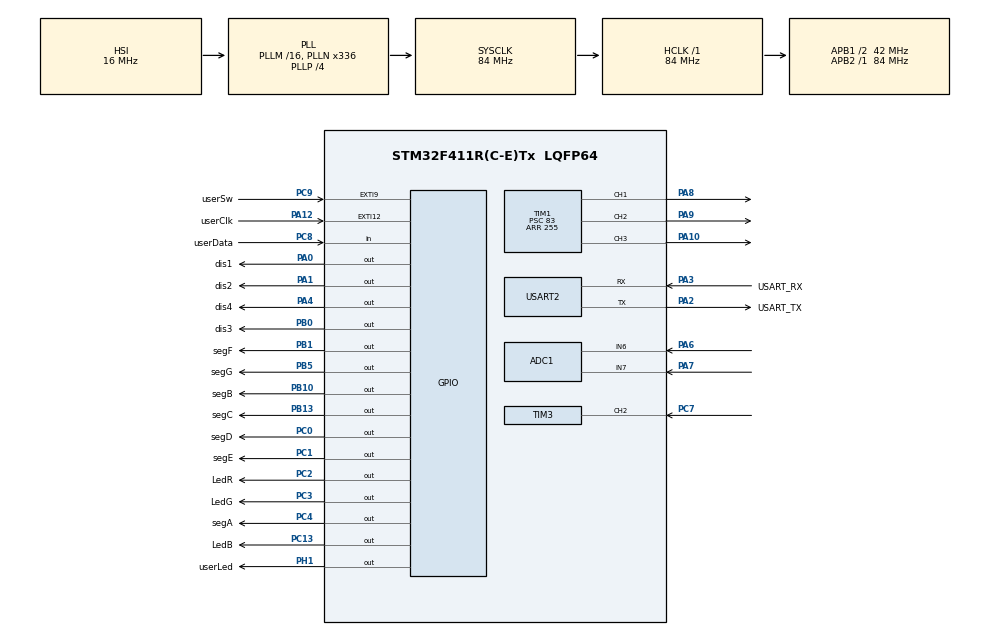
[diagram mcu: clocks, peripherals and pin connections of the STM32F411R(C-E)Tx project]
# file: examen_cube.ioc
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ADC1.Channel-0\#ChannelRegularConversion=ADC_CHANNEL_6
ADC1.Channel-1\#ChannelRegularConversion=ADC_CHANNEL_6
ADC1.ContinuousConvMode=DISABLE
ADC1.DMAContinuousRequests=ENABLE
ADC1.ExternalTrigConv=ADC_EXTERNALTRIGCONV_T3_TRGO
ADC1.NbrOfConversion=2
ADC1.NbrOfConversionFlag=1
ADC1.Rank-1\#ChannelRegularConversion=2
ADC1.SamplingTime-1\#ChannelRegularConversion=ADC_SAMPLETIME_3CYCLES
ADC1.ScanConvMode=ENABLE
ADC1.master=1
Dma.ADC1.0.Direction=DMA_PERIPH_TO_MEMORY
Dma.ADC1.0.FIFOMode=DMA_FIFOMODE_DISABLE
Dma.ADC1.0.Instance=DMA2_Stream0
Dma.ADC1.0.MemDataAlignment=DMA_MDATAALIGN_HALFWORD
Dma.ADC1.0.MemInc=DMA_MINC_ENABLE
Dma.ADC1.0.Mode=DMA_CIRCULAR
Dma.ADC1.0.PeriphDataAlignment=DMA_PDATAALIGN_HALFWORD
Dma.ADC1.0.PeriphInc=DMA_PINC_DISABLE
Dma.ADC1.0.Priority=DMA_PRIORITY_LOW
Dma.Request0=ADC1
Dma.Request1=TIM3_CH2
Dma.TIM3_CH2.1.Direction=DMA_PERIPH_TO_MEMORY
Dma.TIM3_CH2.1.FIFOMode=DMA_FIFOMODE_DISABLE
Dma.TIM3_CH2.1.Instance=DMA1_Stream5
Dma.TIM3_CH2.1.MemDataAlignment=DMA_MDATAALIGN_HALFWORD
Dma.TIM3_CH2.1.MemInc=DMA_MINC_ENABLE
Dma.TIM3_CH2.1.Mode=DMA_CIRCULAR
Dma.TIM3_CH2.1.PeriphDataAlignment=DMA_PDATAALIGN_HALFWORD
Dma.TIM3_CH2.1.PeriphInc=DMA_PINC_DISABLE
Dma.TIM3_CH2.1.Priority=DMA_PRIORITY_LOW
Mcu.Family=STM32F4
Mcu.Name=STM32F411R(C-E)Tx
Mcu.Package=LQFP64
NVIC.ADC_IRQn=true\:0\:0\:false\:false\:true\:true\:true\:true
NVIC.DMA1_Stream5_IRQn=true\:0\:0\:false\:false\:true\:false\:true\:true
NVIC.DMA2_Stream0_IRQn=true\:0\:0\:false\:false\:true\:false\:true\:true
NVIC.EXTI15_10_IRQn=true\:0\:0\:false\:false\:true\:true\:true\:true
NVIC.EXTI9_5_IRQn=true\:0\:0\:false\:false\:true\:true\:true\:true
NVIC.PriorityGroup=NVIC_PRIORITYGROUP_0
NVIC.TIM2_IRQn=true\:0\:0\:false\:false\:true\:true\:true\:true
NVIC.TIM3_IRQn=true\:0\:0\:false\:false\:true\:true\:true\:true
NVIC.TIM4_IRQn=true\:0\:0\:false\:false\:true\:true\:true\:true
NVIC.USART2_IRQn=true\:0\:0\:false\:false\:true\:true\:true\:true
PA0-WKUP.GPIO_Label=dis1
PA0-WKUP.Signal=GPIO_Output
PA1.GPIO_Label=dis2
PA1.Signal=GPIO_Output
PA10.Signal=S_TIM1_CH3
PA12.GPIO_Label=userClk
PA12.Signal=GPXTI12
PA13.GPIO_Label=TMS
PA13.Mode=Serial_Wire
PA13.Signal=SYS_JTMS-SWDIO
PA14.GPIO_Label=TCK
PA14.Mode=Serial_Wire
PA14.Signal=SYS_JTCK-SWCLK
PA2.GPIO_Label=USART_TX
PA2.Mode=Asynchronous
PA2.Signal=USART2_TX
PA3.GPIO_Label=USART_RX
PA3.Mode=Asynchronous
PA3.Signal=USART2_RX
PA4.GPIO_Label=dis4
PA4.Signal=GPIO_Output
PA6.Signal=ADCx_IN6
PA7.Signal=ADCx_IN7
PA8.Signal=S_TIM1_CH1
PA9.Signal=S_TIM1_CH2
PB0.GPIO_Label=dis3
PB0.Signal=GPIO_Output
PB1.GPIO_Label=segF
PB1.Signal=GPIO_Output
PB10.GPIO_Label=segB
PB10.Signal=GPIO_Output
PB13.GPIO_Label=segC
PB13.Signal=GPIO_Output
PB3.GPIO_Label=SWO
PB3.Signal=SYS_JTDO-SWO
PB5.GPIO_Label=segG
PB5.Signal=GPIO_Output
PC0.GPIO_Label=segD
PC0.Signal=GPIO_Output
PC1.GPIO_Label=segE
PC1.Signal=GPIO_Output
PC13-ANTI_TAMP.GPIO_Label=LedB
PC13-ANTI_TAMP.Signal=GPIO_Output
PC2.GPIO_Label=LedR
PC2.Signal=GPIO_Output
PC3.GPIO_Label=LedG
PC3.Signal=GPIO_Output
PC4.GPIO_Label=segA
PC4.Signal=GPIO_Output
PC7.Signal=S_TIM3_CH2
PC8.GPIO_Label=userData
PC8.Signal=GPIO_Input
PC9.GPIO_Label=userSw
PC9.Signal=GPXTI9
PH1\ -\ OSC_OUT.GPIO_Label=userLed
PH1\ -\ OSC_OUT.PinState=GPIO_PIN_SET
PH1\ -\ OSC_OUT.Signal=GPIO_Output
ProjectManager.HeapSize=0x200
ProjectManager.StackSize=0x400
ProjectManager.TargetToolchain=STM32CubeIDE
RCC.48MHZClocksFreq_Value=84000000
RCC.AHBFreq_Value=84000000
RCC.APB1CLKDivider=RCC_HCLK_DIV2
RCC.APB1Freq_Value=42000000
RCC.APB1TimFreq_Value=84000000
RCC.APB2Freq_Value=84000000
RCC.APB2TimFreq_Value=84000000
RCC.CortexFreq_Value=84000000
RCC.FLatency-AdvancedSettings=FLASH_LATENCY_2
RCC.HCLKFreq_Value=84000000
RCC.HSE_VALUE=8000000
RCC.HSI_VALUE=16000000
RCC.LSE_VALUE=32768
RCC.PLLN=336
RCC.PLLP=RCC_PLLP_DIV4
RCC.SYSCLKFreq_VALUE=84000000
RCC.SYSCLKSource=RCC_SYSCLKSOURCE_PLLCLK
RCC.VCOOutputFreq_Value=336000000
SH.ADCx_IN6.0=ADC1_IN6,IN6
SH.ADCx_IN7.0=ADC1_IN7,IN7
SH.S_TIM1_CH1.0=TIM1_CH1,PWM Generation1 CH1
SH.S_TIM1_CH2.0=TIM1_CH2,PWM Generation2 CH2
SH.S_TIM1_CH3.0=TIM1_CH3,PWM Generation3 CH3
SH.S_TIM3_CH2.0=TIM3_CH2,Input_Capture2_from_TI2
TIM1.Channel-PWM\ Generation1\ CH1=TIM_CHANNEL_1
TIM1.Channel-PWM\ Generation2\ CH2=TIM_CHANNEL_2
TIM1.Channel-PWM\ Generation3\ CH3=TIM_CHANNEL_3
TIM1.Period=255
TIM1.Prescaler=83
TIM2.AutoReloadPreload=TIM_AUTORELOAD_PRELOAD_ENABLE
TIM2.Period=500
TIM2.Prescaler=42000-1
TIM3.Channel-Input_Capture2_from_TI2=TIM_CHANNEL_2
TIM3.ICFilter_CH2=8
TIM3.TIM_MasterOutputTrigger=TIM_TRGO_UPDATE
TIM4.Period=200-1
TIM4.Prescaler=840-1
TIM4.TIM_MasterOutputTrigger=TIM_TRGO_UPDATE
USART2.VirtualMode=VM_ASYNC
VP_TIM2_VS_ClockSourceINT.Mode=Internal
VP_TIM3_VS_ClockSourceINT.Mode=Internal
VP_TIM4_VS_ClockSourceINT.Mode=Internal
board=NUCLEO-F411RE

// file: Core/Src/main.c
/* USER CODE BEGIN Header */
/**
  ******************************************************************************
  * @file           : main.c
  * @brief          : Main program body
  * Luis Santiago Duque F
  ******************************************************************************
  * @attention
  *
  * Copyright (c) 2025 STMicroelectronics.
  * All rights reserved.
  *
  * This software is licensed under terms that can be found in the LICENSE file
  * in the root directory of this software component.
  * If no LICENSE file comes with this software, it is provided AS-IS.
  *
  ******************************************************************************
  */
/* USER CODE END Header */
#include "main.h"

/* USER CODE BEGIN Includes */
#include "fsm.h"
#include "stdint.h"
#include "stdio.h"
#include "string.h"
#include <stdlib.h>
/* USER CODE END Includes */

ADC_HandleTypeDef hadc1;
DMA_HandleTypeDef hdma_adc1;

TIM_HandleTypeDef htim1;
TIM_HandleTypeDef htim2;
TIM_HandleTypeDef htim3;
TIM_HandleTypeDef htim4;
DMA_HandleTypeDef hdma_tim3_ch2;

UART_HandleTypeDef huart2;

/* USER CODE BEGIN PV */
const uint32_t timer_clk = 84000000UL;
static uint16_t fft_size = 1024;
static uint16_t display_value   =  0;
static uint8_t nextDigit_FSM    =  1;
static uint8_t tx_buffer[256]   = {0};
#define FREQ_BUFFER_SIZE 16
float freq_buffer[FREQ_BUFFER_SIZE] = {0};
#define NUM_MUESTRAS 1024
uint16_t adc_buffer[2 * NUM_MUESTRAS];
uint16_t vrx_buffer[NUM_MUESTRAS];
uint16_t vry_buffer[NUM_MUESTRAS];

char rx_buffer[128] = {0};
uint8_t rx_char = 0;
uint8_t rx_index=0;
volatile e_PosiblesEvents pending_event = IDLE;
volatile uint8_t data_snapshot = 0;

/* USER CODE END PV */

void SystemClock_Config(void);
static void MX_GPIO_Init(void);
static void MX_DMA_Init(void);
static void MX_USART2_UART_Init(void);
static void MX_TIM2_Init(void);
static void MX_TIM4_Init(void);
static void MX_ADC1_Init(void);
static void MX_TIM3_Init(void);
static void MX_TIM1_Init(void);
/* USER CODE BEGIN PFP */
void displayNumber(uint8_t digitValue);
void HandleLEDDelayCmd(const char *arg);
void HandleSampleFreqCmd(const char *arg);
void HandleRGBCmd(const char *arg);
void HandlePWMFreqCmd(const char *arg);
void HandleUnknownCmd(void);
void HandleStatusCmd(void);
void HandlePrintADC(void);
void HandleClearCmd(void) ;
/* USER CODE END PFP */

/* USER CODE BEGIN 0 */

e_PosiblesStates state_machine_action(e_PosiblesEvents event) {
    switch (event) {
    	case IDLE:
    		break;
        case EVENT_ENCODER:
            if (data_snapshot)  // DATA snapshot
                display_value = (display_value == 0) ? 4095 : display_value - 1;
            else
                display_value = (display_value == 4095) ? 0 : display_value + 1;
            break;

        case EVENT_SW:
            display_value = 0;
            nextDigit_FSM = 1;
            break;

        case EVENT_TIMER_TICK:{
        	uint8_t x_val = (vrx_buffer[0] * 99) / 4095;
        	uint8_t y_val = (vry_buffer[0] * 99) / 4095;
        	display_value = (y_val * 100) + x_val;
            // Apagar todos los dígitos
            HAL_GPIO_WritePin(GPIOA, GPIO_PIN_0, GPIO_PIN_RESET);  // userDis1
            HAL_GPIO_WritePin(GPIOA, GPIO_PIN_1, GPIO_PIN_RESET);  // userDis2
            HAL_GPIO_WritePin(GPIOB, GPIO_PIN_0, GPIO_PIN_RESET);  // userDis3
            HAL_GPIO_WritePin(GPIOA, GPIO_PIN_4, GPIO_PIN_RESET);  // userDis4

            switch (nextDigit_FSM) {
                case 1:
                    HAL_GPIO_WritePin(GPIOA, GPIO_PIN_0, GPIO_PIN_SET);
                    displayNumber(display_value % 10);
                    break;
                case 2:
                    HAL_GPIO_WritePin(GPIOA, GPIO_PIN_1, GPIO_PIN_SET);
                    displayNumber((display_value / 10) % 10);
                    break;
                case 3:
                    HAL_GPIO_WritePin(GPIOB, GPIO_PIN_0, GPIO_PIN_SET);
                    displayNumber((display_value / 100) % 10);
                    break;
                case 4:
                    HAL_GPIO_WritePin(GPIOA, GPIO_PIN_4, GPIO_PIN_SET);
                    displayNumber((display_value / 1000) % 10);
                    break;
            }
            nextDigit_FSM = (nextDigit_FSM < 4) ? nextDigit_FSM + 1 : 1;
            break;}
        case EVENT_USART: {
            // eco
            int len = snprintf((char*)tx_buffer, sizeof(tx_buffer),
                               "Comando recibido: %s\r\n", rx_buffer);
            HAL_UART_Transmit(&huart2, tx_buffer, len, 1000);

            // dispatch
            if      (strncmp((char*)rx_buffer,"led=",4)==0)     HandleLEDDelayCmd(rx_buffer+4);
            else if (strncmp((char*)rx_buffer,"fmuestreo=",10)==0)    HandleSampleFreqCmd(rx_buffer+10);
            else if (strncmp((char*)rx_buffer,"rgb=",4)==0)     HandleRGBCmd(rx_buffer+4);
            else if (strncmp((char*)rx_buffer,"status",6)==0) HandleStatusCmd();
            else if (strncmp((char*)rx_buffer,"help",4)==0) HandleHelpCmd();
            else if (strncmp((char*)rx_buffer, "clear", 5) == 0) HandleClearCmd();
            else                                                ;

            memset(rx_buffer,0,sizeof(rx_buffer));
            break;
        }return event;
    }
}

void displayNumber(uint8_t digitValue) {
    uint32_t start = DWT->CYCCNT;
    static uint8_t contador_muestras = 0;
    // Apagar todos los segmentos
    HAL_GPIO_WritePin(GPIOC, GPIO_PIN_4, GPIO_PIN_RESET);  // A
    HAL_GPIO_WritePin(GPIOB, GPIO_PIN_10, GPIO_PIN_RESET);  // B
    HAL_GPIO_WritePin(GPIOB, GPIO_PIN_13, GPIO_PIN_RESET);  // C
    HAL_GPIO_WritePin(GPIOC, GPIO_PIN_0, GPIO_PIN_RESET);   // D
    HAL_GPIO_WritePin(GPIOC, GPIO_PIN_1, GPIO_PIN_RESET);   // E
    HAL_GPIO_WritePin(GPIOB, GPIO_PIN_1, GPIO_PIN_RESET);   // F
    HAL_GPIO_WritePin(GPIOB, GPIO_PIN_5, GPIO_PIN_RESET);   // G

    switch (digitValue) {
        case 0:
            HAL_GPIO_WritePin(GPIOC, GPIO_PIN_4, GPIO_PIN_SET);
            HAL_GPIO_WritePin(GPIOB, GPIO_PIN_10, GPIO_PIN_SET);
            HAL_GPIO_WritePin(GPIOB, GPIO_PIN_13, GPIO_PIN_SET);
            HAL_GPIO_WritePin(GPIOC, GPIO_PIN_0, GPIO_PIN_SET);
            HAL_GPIO_WritePin(GPIOC, GPIO_PIN_1, GPIO_PIN_SET);
            HAL_GPIO_WritePin(GPIOB, GPIO_PIN_1, GPIO_PIN_SET);
            break;
        case 1:
            HAL_GPIO_WritePin(GPIOB, GPIO_PIN_10, GPIO_PIN_SET);
            HAL_GPIO_WritePin(GPIOB, GPIO_PIN_13, GPIO_PIN_SET);
            break;
        case 2:
            HAL_GPIO_WritePin(GPIOC, GPIO_PIN_4, GPIO_PIN_SET);
            HAL_GPIO_WritePin(GPIOB, GPIO_PIN_10, GPIO_PIN_SET);
            HAL_GPIO_WritePin(GPIOC, GPIO_PIN_0, GPIO_PIN_SET);
            HAL_GPIO_WritePin(GPIOC, GPIO_PIN_1, GPIO_PIN_SET);
            HAL_GPIO_WritePin(GPIOB, GPIO_PIN_5, GPIO_PIN_SET);
            break;
        case 3:
            HAL_GPIO_WritePin(GPIOC, GPIO_PIN_4, GPIO_PIN_SET);
            HAL_GPIO_WritePin(GPIOB, GPIO_PIN_10, GPIO_PIN_SET);
            HAL_GPIO_WritePin(GPIOB, GPIO_PIN_13, GPIO_PIN_SET);
            HAL_GPIO_WritePin(GPIOC, GPIO_PIN_0, GPIO_PIN_SET);
            HAL_GPIO_WritePin(GPIOB, GPIO_PIN_5, GPIO_PIN_SET);
            break;
        case 4:
            HAL_GPIO_WritePin(GPIOB, GPIO_PIN_10, GPIO_PIN_SET);
            HAL_GPIO_WritePin(GPIOB, GPIO_PIN_13, GPIO_PIN_SET);
            HAL_GPIO_WritePin(GPIOB, GPIO_PIN_1, GPIO_PIN_SET);
            HAL_GPIO_WritePin(GPIOB, GPIO_PIN_5, GPIO_PIN_SET);
            break;
        case 5:
            HAL_GPIO_WritePin(GPIOC, GPIO_PIN_4, GPIO_PIN_SET);
            HAL_GPIO_WritePin(GPIOB, GPIO_PIN_13, GPIO_PIN_SET);
            HAL_GPIO_WritePin(GPIOC, GPIO_PIN_0, GPIO_PIN_SET);
            HAL_GPIO_WritePin(GPIOB, GPIO_PIN_1, GPIO_PIN_SET);
            HAL_GPIO_WritePin(GPIOB, GPIO_PIN_5, GPIO_PIN_SET);
            break;
        case 6:
            HAL_GPIO_WritePin(GPIOC, GPIO_PIN_4, GPIO_PIN_SET);
            HAL_GPIO_WritePin(GPIOB, GPIO_PIN_13, GPIO_PIN_SET);
            HAL_GPIO_WritePin(GPIOC, GPIO_PIN_0, GPIO_PIN_SET);
            HAL_GPIO_WritePin(GPIOC, GPIO_PIN_1, GPIO_PIN_SET);
            HAL_GPIO_WritePin(GPIOB, GPIO_PIN_1, GPIO_PIN_SET);
            HAL_GPIO_WritePin(GPIOB, GPIO_PIN_5, GPIO_PIN_SET);
            break;
        case 7:
            HAL_GPIO_WritePin(GPIOC, GPIO_PIN_4, GPIO_PIN_SET);
            HAL_GPIO_WritePin(GPIOB, GPIO_PIN_10, GPIO_PIN_SET);
            HAL_GPIO_WritePin(GPIOB, GPIO_PIN_13, GPIO_PIN_SET);
            break;
        case 8:
            HAL_GPIO_WritePin(GPIOC, GPIO_PIN_4, GPIO_PIN_SET);
            HAL_GPIO_WritePin(GPIOB, GPIO_PIN_10, GPIO_PIN_SET);
            HAL_GPIO_WritePin(GPIOB, GPIO_PIN_13, GPIO_PIN_SET);
            HAL_GPIO_WritePin(GPIOC, GPIO_PIN_0, GPIO_PIN_SET);
            HAL_GPIO_WritePin(GPIOC, GPIO_PIN_1, GPIO_PIN_SET);
            HAL_GPIO_WritePin(GPIOB, GPIO_PIN_1, GPIO_PIN_SET);
            HAL_GPIO_WritePin(GPIOB, GPIO_PIN_5, GPIO_PIN_SET);
            break;
        case 9:
            HAL_GPIO_WritePin(GPIOC, GPIO_PIN_4, GPIO_PIN_SET);
            HAL_GPIO_WritePin(GPIOB, GPIO_PIN_10, GPIO_PIN_SET);
            HAL_GPIO_WritePin(GPIOB, GPIO_PIN_13, GPIO_PIN_SET);
            HAL_GPIO_WritePin(GPIOB, GPIO_PIN_1, GPIO_PIN_SET);
            HAL_GPIO_WritePin(GPIOB, GPIO_PIN_5, GPIO_PIN_SET);
            break;
    }
    uint32_t elapsed = DWT->CYCCNT - start;

    if (contador_muestras < 10) {
        printf("Ciclos para mostrar digito %d: %lu\n", digitValue, (unsigned long)elapsed);
        contador_muestras++;
    }
}
void HandleLEDDelayCmd(const char *arg) {
    uint32_t nuevo = atoi(arg);
    // Ajusta TIM2 para el blinky
    __HAL_TIM_SET_AUTORELOAD(&htim2, nuevo);
    __HAL_TIM_SET_COUNTER(&htim2, 0);
    // Feedback
    int len = snprintf((char*)tx_buffer, sizeof(tx_buffer),
                       "LED delay = %lu ms\r\n", (unsigned long)nuevo);
    HAL_UART_Transmit(&huart2, tx_buffer, len, 1000);
}

void HandleSampleFreqCmd(const char *arg) {
	uint32_t fs;
	char option = arg[0];
    // Verifica la opción seleccionada (1, 2, 3, 4)
	switch(option) {
	        case '1': fs = 44100; break;
	        case '2': fs = 48000; break;
	        case '3': fs = 96000; break;
	        case '4': fs = 128000; break;
	        default: {
	            const char *msg = "Opciones válidas para 'fmuestreo=' son: 1, 2, 3, 4\r\n";
	            HAL_UART_Transmit(&huart2, (uint8_t*)msg, strlen(msg), 1000);
	            return;
	        }
	    }
    // calcular ARR y PSC
    uint32_t arr = timer_clk / fs - 1;
    uint32_t psc = 0;
    if (arr > 0xFFFF) {
        // escalar PSC si supera 16 bits
        psc = (arr / 0x10000) + 1;
        arr = (timer_clk / (psc+1) / fs) - 1;
    }
    // aplicar a TIM3 y reiniciar
    __HAL_TIM_SET_PRESCALER(&htim3, psc);
    __HAL_TIM_SET_AUTORELOAD(&htim3, arr);
    __HAL_TIM_SET_COUNTER(&htim3, 0);
    HAL_TIM_Base_Stop(&htim3);
    HAL_TIM_Base_Start(&htim3);
    // Feedback
    int len = snprintf((char*)tx_buffer, sizeof(tx_buffer),
                       "Sample TIM3 @ %lu Hz (PSC=%lu, ARR=%lu)\r\n",
                       (unsigned long)fs, (unsigned long)psc, (unsigned long)arr);
    HAL_UART_Transmit(&huart2, tx_buffer, len, 1000);
}

void HandleRGBCmd(const char *arg) {
    uint32_t r, g, b;
    if (sscanf(arg, "%lu %lu %lu", &r, &g, &b) == 3) {
        if (r > 255) r = 255;
        if (g > 255) g = 255;
        if (b > 255) b = 255;

        __HAL_TIM_SET_COMPARE(&htim1, TIM_CHANNEL_1, g); // G
        __HAL_TIM_SET_COMPARE(&htim1, TIM_CHANNEL_2, b); // B
        __HAL_TIM_SET_COMPARE(&htim1, TIM_CHANNEL_3, r); // R

        int len = snprintf((char*)tx_buffer, sizeof(tx_buffer),
                           "RGB PWM -> R=%lu, G=%lu, B=%lu\r\n", r, g, b);
        HAL_UART_Transmit(&huart2, tx_buffer, len, 1000);
    } else {
        const char *msg = "Formato inválido. Usa: rgb=R G B@\r\n";
        HAL_UART_Transmit(&huart2, (uint8_t*)msg, strlen(msg), 1000);
    }
}

void HandleStatusCmd(void) {
    uint32_t psc = htim3.Init.Prescaler;
    uint32_t arr = htim3.Init.Period;
    float fs = 84000000.0f / ((psc + 1) * (arr + 1));

    int len = snprintf((char*)tx_buffer, sizeof(tx_buffer),
    		"Config:\r\nSample TIM3 @ %.2f Hz (PSC=%lu, ARR=%lu)\r\nCanal ADC: 6 y 7\r\n",
    		fs, (unsigned long)psc, (unsigned long)arr);
    HAL_UART_Transmit(&huart2, tx_buffer, len, 1000);
}

void HandleClearCmd(void) {
    const char *clear_screen = "\033[2J\033[H";  // Secuencia ANSI para limpiar la pantalla
    HAL_UART_Transmit(&huart2, (uint8_t*)clear_screen, strlen(clear_screen), 1000);
}
void HandleHelpCmd(void) {
    const char *help_msg =
            "\r\n========== AYUDA =========="
            "\r\nComandos disponibles:\r\n"
            "  led=<ms>@       - Cambia la frecuencia del LED Blinky\r\n"
            "  fmuestreo=<1|2|3|4>@ - Frecuencia de muestreo del ADC:\r\n"
            "                 - 1 -> 44100 Hz\r\n"
            "                 - 2 -> 48000 Hz\r\n"
            "                 - 3 -> 96000 Hz\r\n"
            "                 - 4 -> 128000 Hz\r\n"
            "  rgb=<RGB>@      - Control de LED RGB, ej: rgb=RG\r\n"
    		"  status@         - Mostrar configuración actual\r\n"
            "  print@	          - Imprimir datos crudos del ADC\r\n"
            "  help @          - Mostrar esta ayuda\r\n"
            "===========================\r\n";
    HAL_UART_Transmit(&huart2, (uint8_t*)help_msg, strlen(help_msg), 1000);
}
void imprimirBinario(uint8_t valor) {
    for (int i = 7; i >= 0; i--) {
        printf("%d", (valor >> i) & 1);
    }
}

void mostrarOperacion(const char *desc, uint8_t resultado) {
    printf("%s\n", desc);
    printf("Binario: "); imprimirBinario(resultado);
    printf("\nHex: 0x%02X\n", resultado);
    printf("ASCII: %c\n\n", (resultado >= 32 && resultado <= 126) ? resultado : '.');
}

void verificarOperacionesCrucigrama(void) {
    // 1. Caracter ASCII 'B'
    uint8_t op1 = 'B';
    mostrarOperacion("1. ASCII 'B'", op1);

    // 2. ((!!0xC) << 0b11) | (~0x45)
    uint8_t op2 = ((!!0xC) << 0b11) | (~0x45);
    mostrarOperacion("2. ((!!0xC) << 0b11) | (~0x45)", op2);

    // 3. ((0b00111100 & 0xAC) << 0x3)
    uint8_t op3 = (0b00111100 & 0xAC) << 0x3;
    mostrarOperacion("3. ((0b00111100 & 0xAC) << 0x3)", op3);

    // 4. -121
    uint8_t op4 = (uint8_t)(-121);
    mostrarOperacion("4. -121 (uint8_t)", op4);

    // 5. (0xCAFE & 0x0FF0) >> 7
    uint16_t val5 = (0xCAFE & 0x0FF0) >> 7;
    uint8_t op5 = (uint8_t)(val5 & 0xFF);
    mostrarOperacion("5. (0xCAFE & 0x0FF0) >> 7", op5);

    // 6. (1 << 4) + (0x3 << 4) - 10 + (0b11 << 0x6)
    uint8_t op6 = (1 << 4) + (0x3 << 4) - 10 + (0b11 << 6);
    mostrarOperacion("6. (1<<4)+(0x3<<4)-10+(0b11<<6)", op6);

    // 7. ('T' | '5')
    uint8_t op7 = 'T' | '5';
    mostrarOperacion("7. ('T' | '5')", op7);

    // 8. (2921 & 0xD6)
    uint8_t op8 = 2921 & 0xD6;
    mostrarOperacion("8. (2921 & 0xD6)", op8);

    // 9. 01100110 ^ 00101011
    uint8_t a9 = 0b01100110;
    uint8_t b9 = 0b00101011;
    uint8_t op9 = a9 ^ b9;
    mostrarOperacion("9. 01100110 ^ 00101011", op9);
}
/* USER CODE END 0 */

int main(void)
{

  /* MCU Configuration--------------------------------------------------------*/

  /* Reset of all peripherals, Initializes the Flash interface and the Systick. */
  HAL_Init();

  /* USER CODE BEGIN Init */
	CoreDebug->DEMCR |= CoreDebug_DEMCR_TRCENA_Msk; // Habilitar DWT
	DWT->CYCCNT = 0;                                // Reiniciar contador
	DWT->CTRL |= DWT_CTRL_CYCCNTENA_Msk;            // Encender contador de ciclos
  /* USER CODE END Init */

  /* Configure the system clock */
  SystemClock_Config();

  /* Initialize all configured peripherals */
  MX_GPIO_Init();
  MX_DMA_Init();
  MX_USART2_UART_Init();
  MX_TIM2_Init();
  MX_TIM4_Init();
  MX_ADC1_Init();
  MX_TIM3_Init();
  MX_TIM1_Init();
  /* USER CODE BEGIN 2 */
  HAL_TIM_Base_Start_IT(&htim2);
  HAL_TIM_Base_Start_IT(&htim3);
  HAL_TIM_Base_Start_IT(&htim4);
  HAL_UART_Receive_IT(&huart2,&rx_char,1);
  HAL_ADC_Start_DMA(&hadc1, (uint32_t*)adc_buffer, fft_size);
  HAL_TIM_IC_Start_IT(&htim3, TIM_CHANNEL_2);
  HandleSampleFreqCmd(3); //96000 hz muestreo

  verificarOperacionesCrucigrama();
  medirTiempoEnvioUART();
  HandleHelpCmd();

  /* USER CODE END 2 */

  /* Infinite loop */
  while (1)
  {

    /* USER CODE BEGIN 3 */
  	if (pending_event != IDLE){
  		state_machine_action(pending_event);
  		pending_event = IDLE;
  	}
  }
  /* USER CODE END 3 */
}

void SystemClock_Config(void)
{
  RCC_OscInitTypeDef RCC_OscInitStruct = {0};
  RCC_ClkInitTypeDef RCC_ClkInitStruct = {0};

  /** Configure the main internal regulator output voltage
  */
  __HAL_RCC_PWR_CLK_ENABLE();
  __HAL_PWR_VOLTAGESCALING_CONFIG(PWR_REGULATOR_VOLTAGE_SCALE1);

  /** Initializes the RCC Oscillators according to the specified parameters
  * in the RCC_OscInitTypeDef structure.
  */
  RCC_OscInitStruct.OscillatorType = RCC_OSCILLATORTYPE_HSI;
  RCC_OscInitStruct.HSIState = RCC_HSI_ON;
  RCC_OscInitStruct.HSICalibrationValue = RCC_HSICALIBRATION_DEFAULT;
  RCC_OscInitStruct.PLL.PLLState = RCC_PLL_ON;
  RCC_OscInitStruct.PLL.PLLSource = RCC_PLLSOURCE_HSI;
  RCC_OscInitStruct.PLL.PLLM = 16;
  RCC_OscInitStruct.PLL.PLLN = 336;
  RCC_OscInitStruct.PLL.PLLP = RCC_PLLP_DIV4;
  RCC_OscInitStruct.PLL.PLLQ = 4;
  if (HAL_RCC_OscConfig(&RCC_OscInitStruct) != HAL_OK)
  {
    Error_Handler();
  }

  /** Initializes the CPU, AHB and APB buses clocks
  */
  RCC_ClkInitStruct.ClockType = RCC_CLOCKTYPE_HCLK|RCC_CLOCKTYPE_SYSCLK
                              |RCC_CLOCKTYPE_PCLK1|RCC_CLOCKTYPE_PCLK2;
  RCC_ClkInitStruct.SYSCLKSource = RCC_SYSCLKSOURCE_PLLCLK;
  RCC_ClkInitStruct.AHBCLKDivider = RCC_SYSCLK_DIV1;
  RCC_ClkInitStruct.APB1CLKDivider = RCC_HCLK_DIV2;
  RCC_ClkInitStruct.APB2CLKDivider = RCC_HCLK_DIV1;

  if (HAL_RCC_ClockConfig(&RCC_ClkInitStruct, FLASH_LATENCY_2) != HAL_OK)
  {
    Error_Handler();
  }
}

static void MX_ADC1_Init(void)
{

  ADC_ChannelConfTypeDef sConfig = {0};

  /** Configure the global features of the ADC (Clock, Resolution, Data Alignment and number of conversion)
  */
  hadc1.Instance = ADC1;
  hadc1.Init.ClockPrescaler = ADC_CLOCK_SYNC_PCLK_DIV4;
  hadc1.Init.Resolution = ADC_RESOLUTION_12B;
  hadc1.Init.ScanConvMode = ENABLE;
  hadc1.Init.ContinuousConvMode = DISABLE;
  hadc1.Init.DiscontinuousConvMode = DISABLE;
  hadc1.Init.ExternalTrigConvEdge = ADC_EXTERNALTRIGCONVEDGE_RISING;
  hadc1.Init.ExternalTrigConv = ADC_EXTERNALTRIGCONV_T3_TRGO;
  hadc1.Init.DataAlign = ADC_DATAALIGN_RIGHT;
  hadc1.Init.NbrOfConversion = 2;
  hadc1.Init.DMAContinuousRequests = ENABLE;
  hadc1.Init.EOCSelection = ADC_EOC_SINGLE_CONV;
  if (HAL_ADC_Init(&hadc1) != HAL_OK)
  {
    Error_Handler();
  }

  /** Configure for the selected ADC regular channel its corresponding rank in the sequencer and its sample time.
  */
  sConfig.Channel = ADC_CHANNEL_6;
  sConfig.Rank = 1;
  sConfig.SamplingTime = ADC_SAMPLETIME_3CYCLES;
  if (HAL_ADC_ConfigChannel(&hadc1, &sConfig) != HAL_OK)
  {
    Error_Handler();
  }

  /** Configure for the selected ADC regular channel its corresponding rank in the sequencer and its sample time.
  */
  sConfig.Channel = ADC_CHANNEL_6;
  sConfig.Rank = 2;
  if (HAL_ADC_ConfigChannel(&hadc1, &sConfig) != HAL_OK)
  {
    Error_Handler();
  }

}

static void MX_TIM1_Init(void)
{

  TIM_MasterConfigTypeDef sMasterConfig = {0};
  TIM_OC_InitTypeDef sConfigOC = {0};
  TIM_BreakDeadTimeConfigTypeDef sBreakDeadTimeConfig = {0};

  htim1.Instance = TIM1;
  htim1.Init.Prescaler = 83;
  htim1.Init.CounterMode = TIM_COUNTERMODE_UP;
  htim1.Init.Period = 255;
  htim1.Init.ClockDivision = TIM_CLOCKDIVISION_DIV1;
  htim1.Init.RepetitionCounter = 0;
  htim1.Init.AutoReloadPreload = TIM_AUTORELOAD_PRELOAD_DISABLE;
  if (HAL_TIM_PWM_Init(&htim1) != HAL_OK)
  {
    Error_Handler();
  }
  sMasterConfig.MasterOutputTrigger = TIM_TRGO_RESET;
  sMasterConfig.MasterSlaveMode = TIM_MASTERSLAVEMODE_DISABLE;
  if (HAL_TIMEx_MasterConfigSynchronization(&htim1, &sMasterConfig) != HAL_OK)
  {
    Error_Handler();
  }
  sConfigOC.OCMode = TIM_OCMODE_PWM1;
  sConfigOC.Pulse = 0;
  sConfigOC.OCPolarity = TIM_OCPOLARITY_HIGH;
  sConfigOC.OCNPolarity = TIM_OCNPOLARITY_HIGH;
  sConfigOC.OCFastMode = TIM_OCFAST_DISABLE;
  sConfigOC.OCIdleState = TIM_OCIDLESTATE_RESET;
  sConfigOC.OCNIdleState = TIM_OCNIDLESTATE_RESET;
  if (HAL_TIM_PWM_ConfigChannel(&htim1, &sConfigOC, TIM_CHANNEL_1) != HAL_OK)
  {
    Error_Handler();
  }
  if (HAL_TIM_PWM_ConfigChannel(&htim1, &sConfigOC, TIM_CHANNEL_2) != HAL_OK)
  {
    Error_Handler();
  }
  if (HAL_TIM_PWM_ConfigChannel(&htim1, &sConfigOC, TIM_CHANNEL_3) != HAL_OK)
  {
    Error_Handler();
  }
  sBreakDeadTimeConfig.OffStateRunMode = TIM_OSSR_DISABLE;
  sBreakDeadTimeConfig.OffStateIDLEMode = TIM_OSSI_DISABLE;
  sBreakDeadTimeConfig.LockLevel = TIM_LOCKLEVEL_OFF;
  sBreakDeadTimeConfig.DeadTime = 0;
  sBreakDeadTimeConfig.BreakState = TIM_BREAK_DISABLE;
  sBreakDeadTimeConfig.BreakPolarity = TIM_BREAKPOLARITY_HIGH;
  sBreakDeadTimeConfig.AutomaticOutput = TIM_AUTOMATICOUTPUT_DISABLE;
  if (HAL_TIMEx_ConfigBreakDeadTime(&htim1, &sBreakDeadTimeConfig) != HAL_OK)
  {
    Error_Handler();
  }
  /* USER CODE BEGIN TIM1_Init 2 */
  HAL_TIM_PWM_Start(&htim1, TIM_CHANNEL_1); // PA8 - g
  HAL_TIM_PWM_Start(&htim1, TIM_CHANNEL_2); // PA9 - B
  HAL_TIM_PWM_Start(&htim1, TIM_CHANNEL_3); // PA10 - R
  /* USER CODE END TIM1_Init 2 */
  HAL_TIM_MspPostInit(&htim1);

}

static void MX_TIM2_Init(void)
{

  TIM_ClockConfigTypeDef sClockSourceConfig = {0};
  TIM_MasterConfigTypeDef sMasterConfig = {0};

  htim2.Instance = TIM2;
  htim2.Init.Prescaler = 42000-1;
  htim2.Init.CounterMode = TIM_COUNTERMODE_UP;
  htim2.Init.Period = 500;
  htim2.Init.ClockDivision = TIM_CLOCKDIVISION_DIV1;
  htim2.Init.AutoReloadPreload = TIM_AUTORELOAD_PRELOAD_ENABLE;
  if (HAL_TIM_Base_Init(&htim2) != HAL_OK)
  {
    Error_Handler();
  }
  sClockSourceConfig.ClockSource = TIM_CLOCKSOURCE_INTERNAL;
  if (HAL_TIM_ConfigClockSource(&htim2, &sClockSourceConfig) != HAL_OK)
  {
    Error_Handler();
  }
  sMasterConfig.MasterOutputTrigger = TIM_TRGO_RESET;
  sMasterConfig.MasterSlaveMode = TIM_MASTERSLAVEMODE_DISABLE;
  if (HAL_TIMEx_MasterConfigSynchronization(&htim2, &sMasterConfig) != HAL_OK)
  {
    Error_Handler();
  }

}

static void MX_TIM3_Init(void)
{

  TIM_ClockConfigTypeDef sClockSourceConfig = {0};
  TIM_MasterConfigTypeDef sMasterConfig = {0};
  TIM_IC_InitTypeDef sConfigIC = {0};

  htim3.Instance = TIM3;
  htim3.Init.Prescaler = 0;
  htim3.Init.CounterMode = TIM_COUNTERMODE_UP;
  htim3.Init.Period = 65535;
  htim3.Init.ClockDivision = TIM_CLOCKDIVISION_DIV1;
  htim3.Init.AutoReloadPreload = TIM_AUTORELOAD_PRELOAD_DISABLE;
  if (HAL_TIM_Base_Init(&htim3) != HAL_OK)
  {
    Error_Handler();
  }
  sClockSourceConfig.ClockSource = TIM_CLOCKSOURCE_INTERNAL;
  if (HAL_TIM_ConfigClockSource(&htim3, &sClockSourceConfig) != HAL_OK)
  {
    Error_Handler();
  }
  if (HAL_TIM_IC_Init(&htim3) != HAL_OK)
  {
    Error_Handler();
  }
  sMasterConfig.MasterOutputTrigger = TIM_TRGO_UPDATE;
  sMasterConfig.MasterSlaveMode = TIM_MASTERSLAVEMODE_DISABLE;
  if (HAL_TIMEx_MasterConfigSynchronization(&htim3, &sMasterConfig) != HAL_OK)
  {
    Error_Handler();
  }
  sConfigIC.ICPolarity = TIM_INPUTCHANNELPOLARITY_RISING;
  sConfigIC.ICSelection = TIM_ICSELECTION_DIRECTTI;
  sConfigIC.ICPrescaler = TIM_ICPSC_DIV1;
  sConfigIC.ICFilter = 8;
  if (HAL_TIM_IC_ConfigChannel(&htim3, &sConfigIC, TIM_CHANNEL_2) != HAL_OK)
  {
    Error_Handler();
  }
  /* USER CODE BEGIN TIM3_Init 2 */
  HAL_TIM_IC_Start_IT(&htim3, TIM_CHANNEL_2);
  /* USER CODE END TIM3_Init 2 */

}

static void MX_TIM4_Init(void)
{

  TIM_ClockConfigTypeDef sClockSourceConfig = {0};
  TIM_MasterConfigTypeDef sMasterConfig = {0};

  htim4.Instance = TIM4;
  htim4.Init.Prescaler = 840-1;
  htim4.Init.CounterMode = TIM_COUNTERMODE_UP;
  htim4.Init.Period = 200-1;
  htim4.Init.ClockDivision = TIM_CLOCKDIVISION_DIV1;
  htim4.Init.AutoReloadPreload = TIM_AUTORELOAD_PRELOAD_DISABLE;
  if (HAL_TIM_Base_Init(&htim4) != HAL_OK)
  {
    Error_Handler();
  }
  sClockSourceConfig.ClockSource = TIM_CLOCKSOURCE_INTERNAL;
  if (HAL_TIM_ConfigClockSource(&htim4, &sClockSourceConfig) != HAL_OK)
  {
    Error_Handler();
  }
  sMasterConfig.MasterOutputTrigger = TIM_TRGO_UPDATE;
  sMasterConfig.MasterSlaveMode = TIM_MASTERSLAVEMODE_DISABLE;
  if (HAL_TIMEx_MasterConfigSynchronization(&htim4, &sMasterConfig) != HAL_OK)
  {
    Error_Handler();
  }

}

static void MX_USART2_UART_Init(void)
{

  huart2.Instance = USART2;
  huart2.Init.BaudRate = 115200;
  huart2.Init.WordLength = UART_WORDLENGTH_8B;
  huart2.Init.StopBits = UART_STOPBITS_1;
  huart2.Init.Parity = UART_PARITY_NONE;
  huart2.Init.Mode = UART_MODE_TX_RX;
  huart2.Init.HwFlowCtl = UART_HWCONTROL_NONE;
  huart2.Init.OverSampling = UART_OVERSAMPLING_16;
  if (HAL_UART_Init(&huart2) != HAL_OK)
  {
    Error_Handler();
  }

}

static void MX_DMA_Init(void)
{

  /* DMA controller clock enable */
  __HAL_RCC_DMA2_CLK_ENABLE();
  __HAL_RCC_DMA1_CLK_ENABLE();

  /* DMA interrupt init */
  /* DMA1_Stream5_IRQn interrupt configuration */
  HAL_NVIC_SetPriority(DMA1_Stream5_IRQn, 0, 0);
  HAL_NVIC_EnableIRQ(DMA1_Stream5_IRQn);
  /* DMA2_Stream0_IRQn interrupt configuration */
  HAL_NVIC_SetPriority(DMA2_Stream0_IRQn, 0, 0);
  HAL_NVIC_EnableIRQ(DMA2_Stream0_IRQn);

}

static void MX_GPIO_Init(void)
{
  GPIO_InitTypeDef GPIO_InitStruct = {0};

  /* GPIO Ports Clock Enable */
  __HAL_RCC_GPIOC_CLK_ENABLE();
  __HAL_RCC_GPIOH_CLK_ENABLE();
  __HAL_RCC_GPIOA_CLK_ENABLE();
  __HAL_RCC_GPIOB_CLK_ENABLE();

  /*Configure GPIO pin Output Level */
  HAL_GPIO_WritePin(GPIOC, LedB_Pin|segD_Pin|segE_Pin|LedR_Pin
                          |LedG_Pin|segA_Pin, GPIO_PIN_RESET);

  /*Configure GPIO pin Output Level */
  HAL_GPIO_WritePin(userLed_GPIO_Port, userLed_Pin, GPIO_PIN_SET);

  /*Configure GPIO pin Output Level */
  HAL_GPIO_WritePin(GPIOA, dis1_Pin|dis2_Pin|dis4_Pin, GPIO_PIN_RESET);

  /*Configure GPIO pin Output Level */
  HAL_GPIO_WritePin(GPIOB, dis3_Pin|segF_Pin|segB_Pin|segC_Pin
                          |segG_Pin, GPIO_PIN_RESET);

  /*Configure GPIO pins : LedB_Pin segD_Pin segE_Pin LedR_Pin
                           LedG_Pin segA_Pin */
  GPIO_InitStruct.Pin = LedB_Pin|segD_Pin|segE_Pin|LedR_Pin
                          |LedG_Pin|segA_Pin;
  GPIO_InitStruct.Mode = GPIO_MODE_OUTPUT_PP;
  GPIO_InitStruct.Pull = GPIO_NOPULL;
  GPIO_InitStruct.Speed = GPIO_SPEED_FREQ_LOW;
  HAL_GPIO_Init(GPIOC, &GPIO_InitStruct);

  /*Configure GPIO pin : userLed_Pin */
  GPIO_InitStruct.Pin = userLed_Pin;
  GPIO_InitStruct.Mode = GPIO_MODE_OUTPUT_PP;
  GPIO_InitStruct.Pull = GPIO_NOPULL;
  GPIO_InitStruct.Speed = GPIO_SPEED_FREQ_LOW;
  HAL_GPIO_Init(userLed_GPIO_Port, &GPIO_InitStruct);

  /*Configure GPIO pins : dis1_Pin dis2_Pin dis4_Pin */
  GPIO_InitStruct.Pin = dis1_Pin|dis2_Pin|dis4_Pin;
  GPIO_InitStruct.Mode = GPIO_MODE_OUTPUT_PP;
  GPIO_InitStruct.Pull = GPIO_NOPULL;
  GPIO_InitStruct.Speed = GPIO_SPEED_FREQ_LOW;
  HAL_GPIO_Init(GPIOA, &GPIO_InitStruct);

  /*Configure GPIO pins : dis3_Pin segF_Pin segB_Pin segC_Pin
                           segG_Pin */
  GPIO_InitStruct.Pin = dis3_Pin|segF_Pin|segB_Pin|segC_Pin
                          |segG_Pin;
  GPIO_InitStruct.Mode = GPIO_MODE_OUTPUT_PP;
  GPIO_InitStruct.Pull = GPIO_NOPULL;
  GPIO_InitStruct.Speed = GPIO_SPEED_FREQ_LOW;
  HAL_GPIO_Init(GPIOB, &GPIO_InitStruct);

  /*Configure GPIO pin : userData_Pin */
  GPIO_InitStruct.Pin = userData_Pin;
  GPIO_InitStruct.Mode = GPIO_MODE_INPUT;
  GPIO_InitStruct.Pull = GPIO_NOPULL;
  HAL_GPIO_Init(userData_GPIO_Port, &GPIO_InitStruct);

  /*Configure GPIO pin : userSw_Pin */
  GPIO_InitStruct.Pin = userSw_Pin;
  GPIO_InitStruct.Mode = GPIO_MODE_IT_RISING;
  GPIO_InitStruct.Pull = GPIO_NOPULL;
  HAL_GPIO_Init(userSw_GPIO_Port, &GPIO_InitStruct);

  /*Configure GPIO pin : userClk_Pin */
  GPIO_InitStruct.Pin = userClk_Pin;
  GPIO_InitStruct.Mode = GPIO_MODE_IT_RISING;
  GPIO_InitStruct.Pull = GPIO_NOPULL;
  HAL_GPIO_Init(userClk_GPIO_Port, &GPIO_InitStruct);

  /* EXTI interrupt init*/
  HAL_NVIC_SetPriority(EXTI9_5_IRQn, 0, 0);
  HAL_NVIC_EnableIRQ(EXTI9_5_IRQn);

  HAL_NVIC_SetPriority(EXTI15_10_IRQn, 0, 0);
  HAL_NVIC_EnableIRQ(EXTI15_10_IRQn);

}

/* USER CODE BEGIN 4 */
void medirTiempoEnvioUART(void) {
    const char *msg = "Hola mundo! - Examen Taller V\n";
    uint32_t start = DWT->CYCCNT;

    printf("%s", msg);

    uint32_t elapsed = DWT->CYCCNT - start;
    printf("Ciclos para enviar mensaje UART: %lu\n", (unsigned long)elapsed);
}
		int __io_putchar(int ch) {
			HAL_UART_Transmit(&huart2, (uint8_t*)&ch, 1, HAL_MAX_DELAY);
			return ch;
		}
void HAL_TIM_PeriodElapsedCallback(TIM_HandleTypeDef *htim){
	if(htim->Instance==TIM2){
		HAL_GPIO_TogglePin(userLed_GPIO_Port,userLed_Pin);
	}else if(htim->Instance==TIM4){
			if (pending_event == IDLE)
			pending_event = EVENT_TIMER_TICK;
	}else if (htim->Instance==TIM3){

	}
}
void HAL_GPIO_EXTI_Callback(uint16_t GPIO_Pin)
{
    if (GPIO_Pin == userClk_Pin) {
        data_snapshot = HAL_GPIO_ReadPin(userData_GPIO_Port, userData_Pin);
        if (pending_event == IDLE)
            pending_event = EVENT_ENCODER;
    } else if (GPIO_Pin == userSw_Pin) {
        if (pending_event == IDLE)
            pending_event = EVENT_SW;
    }
}
void HAL_UART_RxCpltCallback(UART_HandleTypeDef *huart){
	if(huart->Instance == USART2){
		if(rx_index<sizeof(rx_buffer)-1){
			rx_buffer[rx_index++]=rx_char;
		}
        if (rx_char == '@') {
			rx_buffer[rx_index]='\0';
			rx_index=0;
			pending_event = EVENT_USART; //aquí levanta tu bandera
		}
		HAL_UART_Receive_IT(huart, &rx_char,1);
	}
}

void HAL_ADC_ConvCpltCallback(ADC_HandleTypeDef* hadc)
{
    if (hadc->Instance == ADC1) {
        for (int i = 0; i < NUM_MUESTRAS; i++) {
            vrx_buffer[i] = adc_buffer[2 * i];       // Canal 6
            vry_buffer[i] = adc_buffer[2 * i + 1];   // Canal 7
        }
    }
}
/* USER CODE END 4 */

void Error_Handler(void)
{
  __disable_irq();
  while (1)
  {
  }
}
